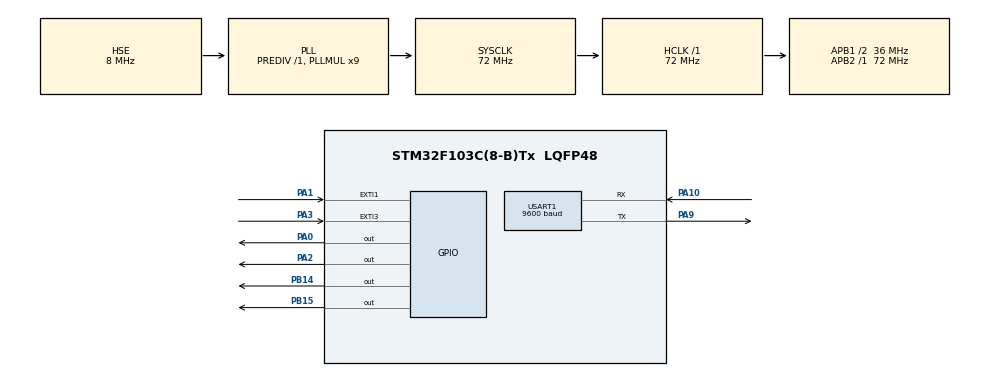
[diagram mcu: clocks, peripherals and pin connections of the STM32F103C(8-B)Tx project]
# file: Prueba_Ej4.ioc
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Mcu.Family=STM32F1
Mcu.Name=STM32F103C(8-B)Tx
Mcu.Package=LQFP48
NVIC.EXTI1_IRQn=true\:0\:0\:false\:false\:true\:true\:true\:true
NVIC.EXTI3_IRQn=true\:0\:0\:false\:false\:true\:true\:true\:true
NVIC.PriorityGroup=NVIC_PRIORITYGROUP_4
NVIC.USART1_IRQn=true\:0\:0\:false\:false\:true\:true\:true\:true
PA0-WKUP.Signal=GPIO_Output
PA1.GPIO_ModeDefaultEXTI=GPIO_MODE_IT_RISING_FALLING
PA1.GPIO_PuPd=GPIO_PULLUP
PA1.Signal=GPXTI1
PA10.Mode=Asynchronous
PA10.Signal=USART1_RX
PA13.Mode=Serial_Wire
PA13.Signal=SYS_JTMS-SWDIO
PA14.Mode=Serial_Wire
PA14.Signal=SYS_JTCK-SWCLK
PA2.Signal=GPIO_Output
PA3.GPIO_ModeDefaultEXTI=GPIO_MODE_IT_RISING_FALLING
PA3.GPIO_PuPd=GPIO_PULLUP
PA3.Signal=GPXTI3
PA9.Mode=Asynchronous
PA9.Signal=USART1_TX
PB14.Signal=GPIO_Output
PB15.Signal=GPIO_Output
PD0-OSC_IN.Mode=HSE-External-Oscillator
PD0-OSC_IN.Signal=RCC_OSC_IN
PD1-OSC_OUT.Mode=HSE-External-Oscillator
PD1-OSC_OUT.Signal=RCC_OSC_OUT
ProjectManager.HeapSize=0x200
ProjectManager.StackSize=0x400
ProjectManager.TargetToolchain=STM32CubeIDE
RCC.AHBFreq_Value=72000000
RCC.APB1CLKDivider=RCC_HCLK_DIV2
RCC.APB1Freq_Value=36000000
RCC.APB1TimFreq_Value=72000000
RCC.APB2Freq_Value=72000000
RCC.APB2TimFreq_Value=72000000
RCC.HCLKFreq_Value=72000000
RCC.PLLMUL=RCC_PLL_MUL9
RCC.PLLSourceVirtual=RCC_PLLSOURCE_HSE
RCC.SYSCLKFreq_VALUE=72000000
RCC.SYSCLKSource=RCC_SYSCLKSOURCE_PLLCLK
RCC.USBFreq_Value=72000000
USART1.BaudRate=9600
USART1.VirtualMode=VM_ASYNC
board=custom

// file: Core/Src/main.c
/* USER CODE BEGIN Header */
/**
  ******************************************************************************
  * @file           : main.c
  * @brief          : Main program body
  ******************************************************************************
  * @attention
  *
  * Copyright (c) 2024 STMicroelectronics.
  * All rights reserved.
  *
  * This software is licensed under terms that can be found in the LICENSE file
  * in the root directory of this software component.
  * If no LICENSE file comes with this software, it is provided AS-IS.
  *
  ******************************************************************************
  */
/* USER CODE END Header */
#include "main.h"

/* USER CODE BEGIN Includes */
#include "stdbool.h"
/* USER CODE END Includes */

/* USER CODE BEGIN PD */
#define RETARDO_DEBOUNCE 15 //Definición de retardo para debounce de 15 milisegundos.
/* USER CODE END PD */

UART_HandleTypeDef huart1;

/* USER CODE BEGIN PV */
uint32_t Boton_N;           //Variable para determinar el pulsador que causó la interrupción
bool estado_pulsador=1;     //Booleano que establece el estado predeterminado del pulsador
uint32_t contador=0;

//Mensajes a enviar por UART//
uint8_t mensaje1[20]= "Tecla1: presionada\r\n";
uint8_t mensaje2[20]= "Tecla1: soltada\r\n";
uint8_t mensaje3[20]= "Tecla2: presionada\r\n";
uint8_t mensaje4[20]= "Tecla2: soltada\r\n";

uint8_t byte; //Variable para reicbir mensaje por UART

//comandos que recibie la UART//

typedef enum commandsEnum
{ COMMAND_LED1_TOGGLE = 'a',
COMMAND_LED2_TOGGLE = 's',
COMMAND_LED3_TOGGLE = 'd',
COMMAND_LED4_TOGGLE = 'f'
} commands_t;
/* USER CODE END PV */

void SystemClock_Config(void);
static void MX_GPIO_Init(void);
static void MX_USART1_UART_Init(void);

int main(void)
{

  /* USER CODE BEGIN 1 */
SysTick_Config(SystemCoreClock / 1000);
  /* USER CODE END 1 */

  /* MCU Configuration--------------------------------------------------------*/

  /* Reset of all peripherals, Initializes the Flash interface and the Systick. */
  HAL_Init();

  /* Configure the system clock */
  SystemClock_Config();

  /* Initialize all configured peripherals */
  MX_GPIO_Init();
  MX_USART1_UART_Init();
  /* USER CODE BEGIN 2 */
  HAL_UART_Receive_IT(&huart1, &byte, 1);
  /* USER CODE END 2 */

  /* Infinite loop */
  while (1)
  {
	  }

}

void SystemClock_Config(void)
{
  RCC_OscInitTypeDef RCC_OscInitStruct = {0};
  RCC_ClkInitTypeDef RCC_ClkInitStruct = {0};

  /** Initializes the RCC Oscillators according to the specified parameters
  * in the RCC_OscInitTypeDef structure.
  */
  RCC_OscInitStruct.OscillatorType = RCC_OSCILLATORTYPE_HSE;
  RCC_OscInitStruct.HSEState = RCC_HSE_ON;
  RCC_OscInitStruct.HSEPredivValue = RCC_HSE_PREDIV_DIV1;
  RCC_OscInitStruct.HSIState = RCC_HSI_ON;
  RCC_OscInitStruct.PLL.PLLState = RCC_PLL_ON;
  RCC_OscInitStruct.PLL.PLLSource = RCC_PLLSOURCE_HSE;
  RCC_OscInitStruct.PLL.PLLMUL = RCC_PLL_MUL9;
  if (HAL_RCC_OscConfig(&RCC_OscInitStruct) != HAL_OK)
  {
    Error_Handler();
  }

  /** Initializes the CPU, AHB and APB buses clocks
  */
  RCC_ClkInitStruct.ClockType = RCC_CLOCKTYPE_HCLK|RCC_CLOCKTYPE_SYSCLK
                              |RCC_CLOCKTYPE_PCLK1|RCC_CLOCKTYPE_PCLK2;
  RCC_ClkInitStruct.SYSCLKSource = RCC_SYSCLKSOURCE_PLLCLK;
  RCC_ClkInitStruct.AHBCLKDivider = RCC_SYSCLK_DIV1;
  RCC_ClkInitStruct.APB1CLKDivider = RCC_HCLK_DIV2;
  RCC_ClkInitStruct.APB2CLKDivider = RCC_HCLK_DIV1;

  if (HAL_RCC_ClockConfig(&RCC_ClkInitStruct, FLASH_LATENCY_2) != HAL_OK)
  {
    Error_Handler();
  }
}

static void MX_USART1_UART_Init(void)
{

  huart1.Instance = USART1;
  huart1.Init.BaudRate = 9600;
  huart1.Init.WordLength = UART_WORDLENGTH_8B;
  huart1.Init.StopBits = UART_STOPBITS_1;
  huart1.Init.Parity = UART_PARITY_NONE;
  huart1.Init.Mode = UART_MODE_TX_RX;
  huart1.Init.HwFlowCtl = UART_HWCONTROL_NONE;
  huart1.Init.OverSampling = UART_OVERSAMPLING_16;
  if (HAL_UART_Init(&huart1) != HAL_OK)
  {
    Error_Handler();
  }

}

static void MX_GPIO_Init(void)
{
  GPIO_InitTypeDef GPIO_InitStruct = {0};

  /* GPIO Ports Clock Enable */
  __HAL_RCC_GPIOD_CLK_ENABLE();
  __HAL_RCC_GPIOA_CLK_ENABLE();
  __HAL_RCC_GPIOB_CLK_ENABLE();

  /*Configure GPIO pin Output Level */
  HAL_GPIO_WritePin(GPIOA, GPIO_PIN_0|GPIO_PIN_2, GPIO_PIN_RESET);

  /*Configure GPIO pin Output Level */
  HAL_GPIO_WritePin(GPIOB, GPIO_PIN_14|GPIO_PIN_15, GPIO_PIN_RESET);

  /*Configure GPIO pins : PA0 PA2 */
  GPIO_InitStruct.Pin = GPIO_PIN_0|GPIO_PIN_2;
  GPIO_InitStruct.Mode = GPIO_MODE_OUTPUT_PP;
  GPIO_InitStruct.Pull = GPIO_NOPULL;
  GPIO_InitStruct.Speed = GPIO_SPEED_FREQ_LOW;
  HAL_GPIO_Init(GPIOA, &GPIO_InitStruct);

  /*Configure GPIO pins : PA1 PA3 */
  GPIO_InitStruct.Pin = GPIO_PIN_1|GPIO_PIN_3;
  GPIO_InitStruct.Mode = GPIO_MODE_IT_RISING_FALLING;
  GPIO_InitStruct.Pull = GPIO_PULLUP;
  HAL_GPIO_Init(GPIOA, &GPIO_InitStruct);

  /*Configure GPIO pins : PB14 PB15 */
  GPIO_InitStruct.Pin = GPIO_PIN_14|GPIO_PIN_15;
  GPIO_InitStruct.Mode = GPIO_MODE_OUTPUT_PP;
  GPIO_InitStruct.Pull = GPIO_NOPULL;
  GPIO_InitStruct.Speed = GPIO_SPEED_FREQ_LOW;
  HAL_GPIO_Init(GPIOB, &GPIO_InitStruct);

  /* EXTI interrupt init*/
  HAL_NVIC_SetPriority(EXTI1_IRQn, 0, 0);
  HAL_NVIC_EnableIRQ(EXTI1_IRQn);

  HAL_NVIC_SetPriority(EXTI3_IRQn, 0, 0);
  HAL_NVIC_EnableIRQ(EXTI3_IRQn);

}

/* USER CODE BEGIN 4 */
void HAL_GPIO_EXTI_Callback(uint16_t GPIO_Pin) //Interrupción externa accionada por el pulsador.
{
	Boton_N = GPIO_Pin;      //Asignar a la variable el pin que activó la interrupción.
}

void SysTick_Handler(void)   //Interrupción disparada cada milisegundo.
{

if(Boton_N == 2){ //En caso de que el pin A1 haya sido el que ocasionó la interrupción.
uint8_t estado_actual = HAL_GPIO_ReadPin(GPIOA, GPIO_PIN_1);  //Lectura de estado de entrada

	if(estado_actual != estado_pulsador)   //Función de Debounce
	{
		contador = contador+1;
		if(contador >= RETARDO_DEBOUNCE)
		{

			HAL_UART_Transmit(&huart1, mensaje1, sizeof(mensaje1),100);
			contador= 0;
			estado_pulsador= 1;
			Boton_N=0;
		}

		}
	if (estado_actual == estado_pulsador){ //Función de Debounce

		contador = contador+1;
		if(contador >= RETARDO_DEBOUNCE)
		{
			HAL_UART_Transmit(&huart1, mensaje2, sizeof(mensaje2),100);
			Boton_N=0;
			contador= 0;
		}
	}
	}

if(Boton_N == 8){  //En caso de que el pin A3 haya sido el que ocasionó la interrupción.
uint8_t estado_actual = HAL_GPIO_ReadPin(GPIOA, GPIO_PIN_3);

		if(estado_actual != estado_pulsador) //Función de Debounce
		{
			contador = contador+1;
			if(contador == RETARDO_DEBOUNCE)
			{
				HAL_UART_Transmit(&huart1, mensaje3, sizeof(mensaje3),100);
				contador=0;
				estado_pulsador= 1;
				Boton_N=0;
			}

		}
		if (estado_actual == estado_pulsador){ //Función de Debounce
		contador = contador+1;
		if(contador >= RETARDO_DEBOUNCE)
		{
			HAL_UART_Transmit(&huart1, mensaje4, sizeof(mensaje4),100);
			Boton_N=0;
			contador=0;
		}
}
}
}

void HAL_UART_RxCpltCallback(UART_HandleTypeDef *huart) //Interrupción de UART que recibe los comandos
{
	if (byte == COMMAND_LED1_TOGGLE)

	{
		HAL_GPIO_TogglePin(GPIOA, GPIO_PIN_0);
		HAL_UART_Transmit(&huart1, &byte, sizeof(byte),100); //Transmisión de UART que devuelve lo que recibió para visualizar tecla presionada

	}

	else if (byte == COMMAND_LED2_TOGGLE)

	{
		HAL_GPIO_TogglePin(GPIOA, GPIO_PIN_2);
		HAL_UART_Transmit(&huart1, &byte, sizeof(byte),100); //Transmisión de UART que devuelve lo que recibió para visualizar tecla presionada

	}

	else if (byte == COMMAND_LED3_TOGGLE)
	{
		HAL_GPIO_TogglePin(GPIOB, GPIO_PIN_15);
		HAL_UART_Transmit(&huart1, &byte, sizeof(byte),100); //Transmisión de UART que devuelve lo que recibió para visualizar tecla presionada

	}

	else if (byte = COMMAND_LED4_TOGGLE)
	{
		HAL_GPIO_TogglePin(GPIOB, GPIO_PIN_14);
		HAL_UART_Transmit(&huart1, &byte, sizeof(byte),100); //Transmisión de UART que devuelve lo que recibió para visualizar tecla presionada

	}

	HAL_UART_Receive_IT(&huart1, &byte, 1); /*Vuelve a habilitar UART para recibir próximo mensaje*/
}

/* USER CODE END 4 */

void Error_Handler(void)
{
  __disable_irq();
  while (1)
  {
  }
}
